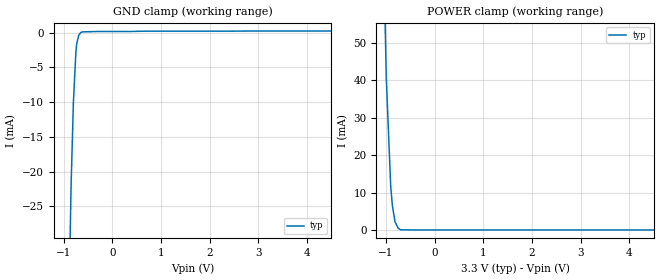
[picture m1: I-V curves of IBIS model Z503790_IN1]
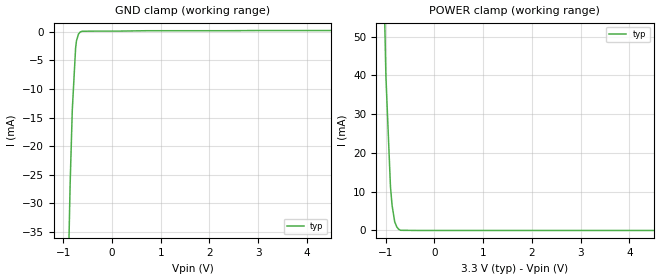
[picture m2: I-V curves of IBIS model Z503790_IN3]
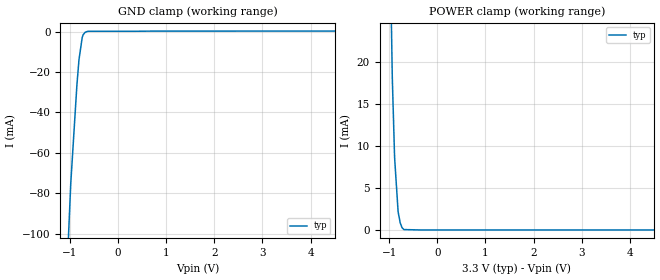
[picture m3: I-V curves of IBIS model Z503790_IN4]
| YOU ARE ONLY AUTHORIZED TO USE THIS SOFTWARE
| ACCORDING TO LICENSOR'S LICENSE RESTRICTIONS.
[IBIS Ver] 3.1
[File Name] mc74ac377_33dw.ibs
[File Rev] 2.0
[Source] Measured and created by ICX Technology
[Date] Friday 7/14/00 9:08:00 AM
[Copyright]
| (C) COPYRIGHT 1993-2000
| MENTOR GRAPHICS CORPORATION
| ICX STANDARD LIBRARY, ICX PROJECT MODELING,
| ICX CUSTOM MODELING, ICX VENDOR MODEL
| ALL RIGHTS RESERVED.
| THE FOLLOWING ARE TRADEMARKS OR SERVICE MARKS OF
| MENTOR GRAPHICS CORPORATION:ICX (R), ICX STANDARD
| LIBRARY(R), ICX PROJECT MODELING(R), ICX CUSTOM
| MODELING(R), qualityIBIS(TM), MODELVIEWER(TM),
| AND MODELEDITOR(TM)
| ALL COPIES OF SOFTWARE, INCLUDING BUT NOT LIMITED TO
| ANY MODIFICATIONS, ENHANCEMENTS OR DERIVATIVE WORKS,
| MUST CONTAIN ALL MENTOR GRAPHICS CORPORATION'S
| NOTICES AND LEGENDS, INCLUDING THOSE EMBEDDED IN
| SOFTWARE AND THOSE AFFIXED TO SOFTWARE MEDIUM
| AND CONTAINER, AS RECEIVED FROM MENTOR GRAPHICS
| CORPORATION.
|  ZAP Model Builder 2.7
[Component] MC74AC377_33DW
[Manufacturer] OnSemiconductor
[Package]
| variable   typ   min   max
R_pkg  .178ohms NA NA
L_pkg  4.43nH NA NA
C_pkg  .62pF NA NA
[Pin] signal_name  model_name  R_pin  L_pin C_pin
1 _G Z503790_IN1 .186 5.37n .68p
2 Q0 Z503790_OUT2 .182 4.89n .65p
3 D0 Z503790_IN3 .178 4.42n .62p
4 D1 Z503790_IN3 .174 3.96n .59p
5 Q1 Z503790_OUT2 .17 3.51n .56p
6 Q2 Z503790_OUT2 .17 3.51n .56p
7 D2 Z503790_IN3 .174 3.96n .59p
8 D3 Z503790_IN3 .178 4.42n .62p
9 Q3 Z503790_OUT2 .182 4.89n .65p
10 GROUND GND .186 5.37n .68p
11 CLK Z503790_IN4 .186 5.37n .68p
12 Q4 Z503790_OUT2 .182 4.89n .65p
13 D4 Z503790_IN3 .178 4.42n .62p
14 D5 Z503790_IN3 .174 3.96n .59p
15 Q5 Z503790_OUT2 .17 3.51n .56p
16 Q6 Z503790_OUT2 .17 3.51n .56p
17 D6 Z503790_IN3 .174 3.96n .59p
18 D7 Z503790_IN3 .178 4.42n .62p
19 Q7 Z503790_OUT2 .182 4.89n .65p
20 VCC POWER .186 5.37n .68p
| Models and submodels in the file (4): Z503790_IN1 (Input), Z503790_IN3 (Input), Z503790_IN4 (Input), Z503790_OUT2 (Output)
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| (C) COPYRIGHT 1993-2000
| MENTOR GRAPHICS CORPORATION
| ICX STANDARD LIBRARY, ICX PROJECT MODELING,
| ICX CUSTOM MODELING, ICX VENDOR MODEL
| ALL RIGHTS RESERVED.
| THE FOLLOWING ARE TRADEMARKS OR SERVICE MARKS OF
| MENTOR GRAPHICS CORPORATION:ICX (R), ICX STANDARD
| LIBRARY(R), ICX PROJECT MODELING(R), ICX CUSTOM
| MODELING(R), qualityIBIS(TM), MODELVIEWER(TM),
| AND MODELEDITOR(TM)
| ALL COPIES OF SOFTWARE, INCLUDING BUT NOT LIMITED TO
| ANY MODIFICATIONS, ENHANCEMENTS OR DERIVATIVE WORKS,
| MUST CONTAIN ALL MENTOR GRAPHICS CORPORATION'S
| NOTICES AND LEGENDS, INCLUDING THOSE EMBEDDED IN
| SOFTWARE AND THOSE AFFIXED TO SOFTWARE MEDIUM
| AND CONTAINER, AS RECEIVED FROM MENTOR GRAPHICS
| CORPORATION.
| Model Application Version 1.89 2/18/99.
[Model] Z503790_IN1
Model_type Input
Vinl = 990.0mV
Vinh = 2.310V
C_comp 4.000pF NA NA
| variable typ   min   max
[Voltage Range] 3.300V NA NA
[GND Clamp Reference] 0.000V NA NA
[POWER Clamp Reference] 3.300V NA NA
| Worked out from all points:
|   GND clamp passes 1 mA (typ) near -0.71 V on its own axis
|   POWER clamp passes 1 mA (typ) near -0.77 V on its own axis
[GND Clamp]
-3.3V     -1.796A    NA         NA
-1.001V   -80.01mA   NA         NA
-844.5mV  -21.86mA   NA         NA
-798mV    -10.08mA   NA         NA
-747.2mV  -2.878mA   NA         NA
-730.1mV  -1.611mA   NA         NA
-687mV    -379.8uA   NA         NA
-647.8mV  903.2nA    NA         NA
-305.2mV  150.7uA    NA         NA
704.2mV   200.6uA    NA         NA
6.6V      220.1uA    NA         NA
[POWER Clamp]
-3.3V     2.091A     NA         NA
-1.114V   115.2mA    NA         NA
-996mV    40.83mA    NA         NA
-904mV    11.54mA    NA         NA
-870mV    6.472mA    NA         NA
-816mV    2.187mA    NA         NA
-754mV    531.5uA    NA         NA
-717mV    145.2uA    NA         NA
-697mV    46.3uA     NA         NA
-348.5mV  0A         NA         NA
6.6V      0A         NA         NA
| (C) COPYRIGHT 1993-2000
| MENTOR GRAPHICS CORPORATION
| ICX STANDARD LIBRARY, ICX PROJECT MODELING,
| ICX CUSTOM MODELING, ICX VENDOR MODEL
| ALL RIGHTS RESERVED.
| THE FOLLOWING ARE TRADEMARKS OR SERVICE MARKS OF
| MENTOR GRAPHICS CORPORATION:ICX (R), ICX STANDARD
| LIBRARY(R), ICX PROJECT MODELING(R), ICX CUSTOM
| MODELING(R), qualityIBIS(TM), MODELVIEWER(TM),
| AND MODELEDITOR(TM)
| ALL COPIES OF SOFTWARE, INCLUDING BUT NOT LIMITED TO
| ANY MODIFICATIONS, ENHANCEMENTS OR DERIVATIVE WORKS,
| MUST CONTAIN ALL MENTOR GRAPHICS CORPORATION'S
| NOTICES AND LEGENDS, INCLUDING THOSE EMBEDDED IN
| SOFTWARE AND THOSE AFFIXED TO SOFTWARE MEDIUM
| AND CONTAINER, AS RECEIVED FROM MENTOR GRAPHICS
| CORPORATION.
| Model Application Version 1.89 2/18/99.
[Model] Z503790_IN3
Model_type Input
Vinl = 990.0mV
Vinh = 2.310V
C_comp 4.000pF NA NA
| variable typ   min   max
[Voltage Range] 3.300V NA NA
[GND Clamp Reference] 0.000V NA NA
[POWER Clamp Reference] 3.300V NA NA
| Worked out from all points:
|   GND clamp passes 1 mA (typ) near -0.71 V on its own axis
|   POWER clamp passes 1 mA (typ) near -0.78 V on its own axis
[GND Clamp]
-3.3V     -2.106A    NA         NA
-1.011V   -88.46mA   NA         NA
-859.4mV  -26.73mA   NA         NA
-814.8mV  -13.68mA   NA         NA
-747.2mV  -2.883mA   NA         NA
-730.1mV  -1.61mA    NA         NA
-687.1mV  -376uA     NA         NA
-648.1mV  2.429uA    NA         NA
703.8mV   192.2uA    NA         NA
6.6V      225.7uA    NA         NA
[POWER Clamp]
-3.3V     1.834A     NA         NA
-1.118V   110.3mA    NA         NA
-997mV    39.68mA    NA         NA
-904mV    11.37mA    NA         NA
-870mV    6.425mA    NA         NA
-816mV    2.203mA    NA         NA
-773mV    902.3uA    NA         NA
-735mV    311.4uA    NA         NA
-696mV    46.4uA     NA         NA
-348mV    0A         NA         NA
6.6V      0A         NA         NA
| (C) COPYRIGHT 1993-2000
| MENTOR GRAPHICS CORPORATION
| ICX STANDARD LIBRARY, ICX PROJECT MODELING,
| ICX CUSTOM MODELING, ICX VENDOR MODEL
| ALL RIGHTS RESERVED.
| THE FOLLOWING ARE TRADEMARKS OR SERVICE MARKS OF
| MENTOR GRAPHICS CORPORATION:ICX (R), ICX STANDARD
| LIBRARY(R), ICX PROJECT MODELING(R), ICX CUSTOM
| MODELING(R), qualityIBIS(TM), MODELVIEWER(TM),
| AND MODELEDITOR(TM)
| ALL COPIES OF SOFTWARE, INCLUDING BUT NOT LIMITED TO
| ANY MODIFICATIONS, ENHANCEMENTS OR DERIVATIVE WORKS,
| MUST CONTAIN ALL MENTOR GRAPHICS CORPORATION'S
| NOTICES AND LEGENDS, INCLUDING THOSE EMBEDDED IN
| SOFTWARE AND THOSE AFFIXED TO SOFTWARE MEDIUM
| AND CONTAINER, AS RECEIVED FROM MENTOR GRAPHICS
| CORPORATION.
| Model Application Version 1.89 2/18/99.
[Model] Z503790_IN4
Model_type Input
Vinl = 990.0mV
Vinh = 2.310V
C_comp 4.000pF NA NA
| variable typ   min   max
[Voltage Range] 3.300V NA NA
[GND Clamp Reference] 0.000V NA NA
[POWER Clamp Reference] 3.300V NA NA
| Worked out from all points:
|   GND clamp passes 1 mA (typ) near -0.71 V on its own axis
|   POWER clamp passes 1 mA (typ) near -0.78 V on its own axis
[GND Clamp]
-3.3V     -2.258A    NA         NA
-1.037V   -103.6mA   NA         NA
-986.3mV  -75.54mA   NA         NA
-859.2mV  -26.92mA   NA         NA
-814.5mV  -13.9mA    NA         NA
-747.1mV  -2.943mA   NA         NA
-729.8mV  -1.662mA   NA         NA
-686.8mV  -400.1uA   NA         NA
-647.9mV  -6.917uA   NA         NA
6.6V      214.9uA    NA         NA
[POWER Clamp]
-3.3V     1.53A      NA         NA
-1.099V   88.89mA    NA         NA
-1.011V   44.06mA    NA         NA
-937mV    18.19mA    NA         NA
-889mV    8.622mA    NA         NA
-816mV    2.183mA    NA         NA
-773mV    862.1uA    NA         NA
-735mV    285.4uA    NA         NA
-696mV    48.3uA     NA         NA
-348mV    0A         NA         NA
6.6V      0A         NA         NA
